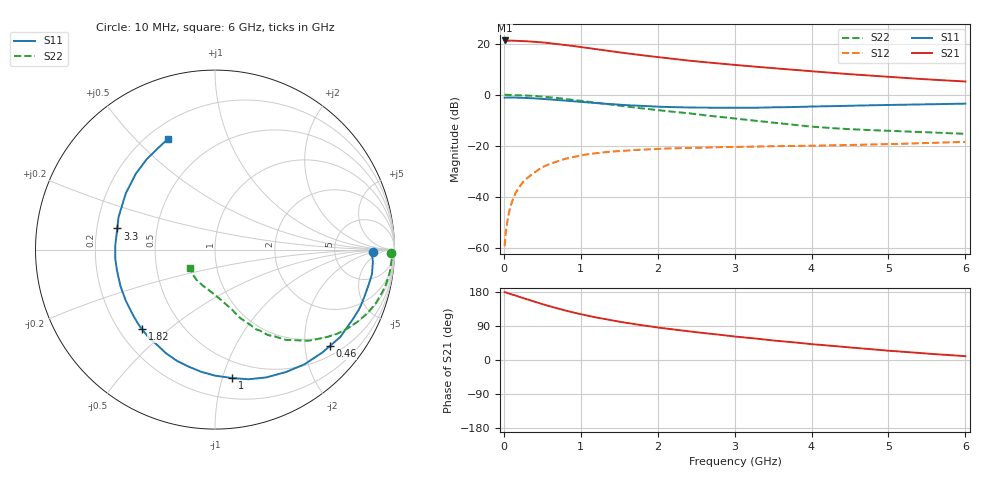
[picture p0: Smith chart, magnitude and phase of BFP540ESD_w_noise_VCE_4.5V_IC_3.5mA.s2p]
! Infineon Technologies  Discrete & RF Semiconductors
! BFP540ESD
! VCE =  4.5 V,  IC =  3.5 mA
! Common Emitter S-Parameters:  Nov 2015
# GHz  S  MA  R  50
!  f  S11  S21  S12  S22
! GHz  MAG  ANG  MAG  ANG  MAG  ANG  MAG  ANG
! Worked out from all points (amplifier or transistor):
!   210 points, 10 MHz to 6 GHz, reference 50 ohm
!   highest |S21| = 21.2 dB at 10 MHz (marker M1)
!   |S21| within 3 dB of that: start of sweep to 1.106 GHz
!   unconditionally stable (mu >= 1): start of sweep to 10.31 MHz; 3.643 GHz to end of sweep
!   at 185 MHz: K = 0.06, MSG = 28.9 dB, |S12| = -36.8 dB
!   at 1.52 GHz: K = 0.38, MSG = 19.2 dB, |S12| = -22.0 dB
!   at 6 GHz: K = 1.27, MAG = 8.6 dB, |S12| = -18.4 dB
!   lowest NFmin = 0.64 dB at 900 MHz
!   S11 on the Smith chart (normalised r, x): 10 MHz: 15, -1; 460 MHz: 0.72, -2.56; 1 GHz: 0.36, -1.07; 1.82 GHz: 0.29, -0.41; 3.3 GHz: 0.29, +0.10; 6 GHz: 0.28, +0.62
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0.01  0.8795 -0.7  11.47 178.9  0.0011 40.4  0.9791 -1.2
0.02  0.8754 -2.0  11.3 178.7  0.0017 59.2  1 -1.1
0.06  0.8824 -5.2  11.36 175.9  0.0044 77.4  0.9874 -2.8
0.14  0.8787 -12.4  11.33 170.8  0.011 81.1  0.983 -6.4
0.28  0.864 -24.6  11.08 161.6  0.0218 76.5  0.9669 -12.9
0.46  0.8353 -40.1  10.63 150.1  0.0351 69.6  0.9294 -20.9
0.6  0.8102 -52.1  10.14 141.3  0.0445 64.4  0.8909 -26.7
0.76  0.7739 -64.7  9.52 132.8  0.0536 58.6  0.8401 -32.9
0.9  0.7458 -75.6  8.944 125.4  0.0604 53.5  0.7938 -37.8
1  0.7217 -82.5  8.52 120.9  0.0652 50.8  0.7603 -40.9
1.02  0.7168 -84.0  8.441 120.0  0.0659 50.2  0.7537 -41.5
1.2  0.6846 -96.6  7.742 112.2  0.0719 44.9  0.6972 -46.6
1.44  0.6477 -111.4  6.921 103.4  0.078 39.3  0.6274 -52.7
1.62  0.6208 -121.4  6.363 97.3  0.0816 35.8  0.5821 -55.9
1.82  0.6019 -132.5  5.839 91.0  0.0847 32.5  0.5359 -59.7
2.02  0.5824 -142.4  5.399 85.2  0.0875 29.9  0.497 -62.8
2.6  0.5589 -167.3  4.332 71.0  0.0926 23.8  0.3969 -70.7
3.1  0.5546 174.5  3.703 60.1  0.0958 20.8  0.3301 -76.0
3.3  0.5572 167.8  3.492 56.1  0.0972 19.8  0.3066 -79.1
4.1  0.5902 145.4  2.796 40.2  0.1013 16.5  0.2315 -97.3
5.1  0.6341 125.3  2.187 23.1  0.1092 14.1  0.1948 -123.3
6  0.6695 113.1  1.811 10.0  0.1198 13.1  0.1722 -144.0
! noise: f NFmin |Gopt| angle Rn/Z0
0.9  0.64  0.22  44  0.14
1.8  0.9  0.18  97  0.12
2.4  0.92  0.21  112  0.1
3  1.1  0.26  147  0.09
4  1.35  0.28  -137  0.14
5  1.65  0.41  -105  0.31
6  1.85  0.54  -104  0.47
